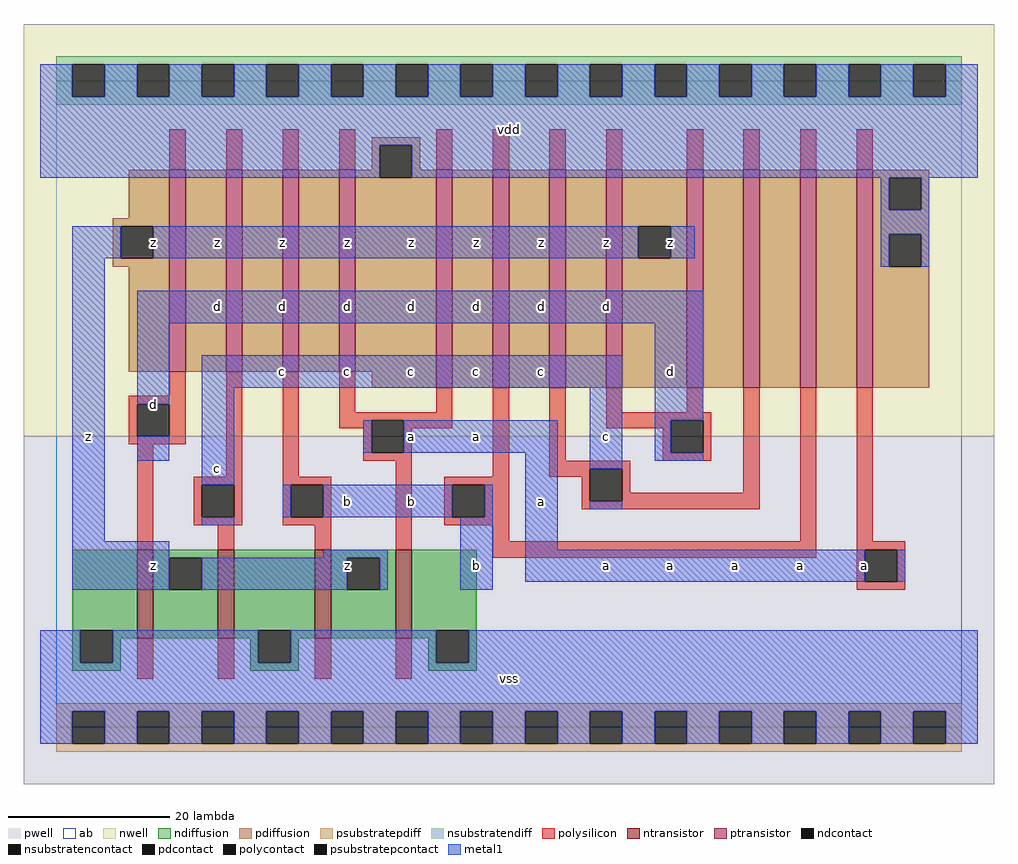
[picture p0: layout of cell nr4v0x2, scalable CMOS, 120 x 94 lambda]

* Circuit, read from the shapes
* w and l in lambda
.subckt nr4v0x2 a b c d vdd vss z
M1 z d vss vss nfet w=11 l=2
M2 vss c z vss nfet w=11 l=2
M3 z b vss vss nfet w=11 l=2
M4 vss a z vss nfet w=11 l=2
M5 n1 d z vdd pfet w=25 l=2
M6 n2 c n1 vdd pfet w=25 l=2
M7 n3 b n2 vdd pfet w=25 l=2
M8 vdd a n3 vdd pfet w=25 l=2
M9 n4 a vdd vdd pfet w=27 l=2
M10 n5 b n4 vdd pfet w=27 l=2
M11 n6 c n5 vdd pfet w=27 l=2
M12 z d n6 vdd pfet w=27 l=2
M13 n7 d z vdd pfet w=27 l=2
M14 n8 c n7 vdd pfet w=27 l=2
M15 n9 b n8 vdd pfet w=27 l=2
M16 vdd a n9 vdd pfet w=27 l=2
.ends

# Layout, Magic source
magic
tech scmos
<< ab >>
rect 0 0 112 80
<< pwell >>
rect -4 -7 116 36
<< nwell >>
rect -4 36 116 87
<< polysilicon >>
rect 14 69 16 74
rect 21 69 23 74
rect 28 69 30 74
rect 35 69 37 74
rect 47 69 49 74
rect 54 69 56 74
rect 61 69 63 74
rect 68 69 70 74
rect 78 69 80 74
rect 85 69 87 74
rect 92 69 94 74
rect 99 69 101 74
rect 14 41 16 44
rect 9 40 16 41
rect 9 36 10 40
rect 14 36 16 40
rect 9 35 16 36
rect 10 22 12 35
rect 21 31 23 44
rect 17 30 23 31
rect 17 26 18 30
rect 22 26 23 30
rect 17 25 23 26
rect 28 31 30 44
rect 35 39 37 44
rect 47 39 49 42
rect 35 38 49 39
rect 35 37 39 38
rect 38 34 39 37
rect 43 37 49 38
rect 43 34 44 37
rect 38 33 44 34
rect 28 30 34 31
rect 28 26 29 30
rect 33 26 34 30
rect 28 25 34 26
rect 20 22 22 25
rect 32 22 34 25
rect 42 22 44 33
rect 54 31 56 42
rect 61 33 63 42
rect 68 39 70 42
rect 78 39 80 42
rect 68 38 81 39
rect 68 37 76 38
rect 75 34 76 37
rect 80 34 81 38
rect 75 33 81 34
rect 61 32 71 33
rect 61 31 66 32
rect 48 30 56 31
rect 48 26 49 30
rect 53 26 56 30
rect 65 28 66 31
rect 70 29 71 32
rect 85 29 87 42
rect 70 28 87 29
rect 65 27 87 28
rect 48 25 56 26
rect 54 23 56 25
rect 92 23 94 42
rect 10 6 12 11
rect 20 6 22 11
rect 54 21 94 23
rect 99 23 101 42
rect 99 22 105 23
rect 99 18 100 22
rect 104 18 105 22
rect 99 17 105 18
rect 32 6 34 11
rect 42 6 44 11
<< ndiffusion >>
rect 2 12 10 22
rect 2 8 3 12
rect 7 11 10 12
rect 12 21 20 22
rect 12 17 14 21
rect 18 17 20 21
rect 12 11 20 17
rect 22 12 32 22
rect 22 11 25 12
rect 7 8 8 11
rect 2 7 8 8
rect 24 8 25 11
rect 29 11 32 12
rect 34 21 42 22
rect 34 17 36 21
rect 40 17 42 21
rect 34 11 42 17
rect 44 12 52 22
rect 44 11 47 12
rect 29 8 30 11
rect 24 7 30 8
rect 46 8 47 11
rect 51 8 52 12
rect 46 7 52 8
<< pdiffusion >>
rect 39 72 45 73
rect 39 69 40 72
rect 9 63 14 69
rect 7 62 14 63
rect 7 58 8 62
rect 12 58 14 62
rect 7 57 14 58
rect 9 44 14 57
rect 16 44 21 69
rect 23 44 28 69
rect 30 44 35 69
rect 37 68 40 69
rect 44 69 45 72
rect 44 68 47 69
rect 37 44 47 68
rect 39 42 47 44
rect 49 42 54 69
rect 56 42 61 69
rect 63 42 68 69
rect 70 62 78 69
rect 70 58 72 62
rect 76 58 78 62
rect 70 42 78 58
rect 80 42 85 69
rect 87 42 92 69
rect 94 42 99 69
rect 101 68 108 69
rect 101 64 103 68
rect 107 64 108 68
rect 101 61 108 64
rect 101 57 103 61
rect 107 57 108 61
rect 101 42 108 57
<< metal1 >>
rect -2 78 2 82
rect 6 78 10 82
rect 14 78 18 82
rect 22 78 26 82
rect 30 78 34 82
rect 38 78 42 82
rect 46 78 50 82
rect 54 78 58 82
rect 62 78 66 82
rect 70 78 74 82
rect 78 78 82 82
rect 86 78 90 82
rect 94 78 98 82
rect 102 78 106 82
rect 110 78 114 82
rect -2 72 114 78
rect -2 68 40 72
rect 44 68 114 72
rect 102 64 103 68
rect 107 64 108 68
rect 2 58 8 62
rect 12 58 72 62
rect 76 58 79 62
rect 102 61 108 64
rect 2 23 6 58
rect 102 57 103 61
rect 107 57 108 61
rect 10 50 80 54
rect 10 40 14 50
rect 10 33 14 36
rect 18 42 70 46
rect 18 30 22 42
rect 38 34 39 38
rect 43 34 62 38
rect 28 26 29 30
rect 33 26 49 30
rect 53 26 54 30
rect 18 25 22 26
rect 2 17 14 23
rect 33 21 41 22
rect 18 17 36 21
rect 40 17 41 21
rect 50 17 54 26
rect 58 22 62 34
rect 66 32 70 42
rect 74 38 80 50
rect 74 34 76 38
rect 74 33 80 34
rect 66 27 70 28
rect 58 18 100 22
rect 104 18 105 22
rect -2 8 3 12
rect 7 8 25 12
rect 29 8 47 12
rect 51 8 114 12
rect -2 2 114 8
rect -2 -2 2 2
rect 6 -2 10 2
rect 14 -2 18 2
rect 22 -2 26 2
rect 30 -2 34 2
rect 38 -2 42 2
rect 46 -2 50 2
rect 54 -2 58 2
rect 62 -2 66 2
rect 70 -2 74 2
rect 78 -2 82 2
rect 86 -2 90 2
rect 94 -2 98 2
rect 102 -2 106 2
rect 110 -2 114 2
<< ntransistor >>
rect 10 11 12 22
rect 20 11 22 22
rect 32 11 34 22
rect 42 11 44 22
<< ptransistor >>
rect 14 44 16 69
rect 21 44 23 69
rect 28 44 30 69
rect 35 44 37 69
rect 47 42 49 69
rect 54 42 56 69
rect 61 42 63 69
rect 68 42 70 69
rect 78 42 80 69
rect 85 42 87 69
rect 92 42 94 69
rect 99 42 101 69
<< polycontact >>
rect 10 36 14 40
rect 18 26 22 30
rect 39 34 43 38
rect 29 26 33 30
rect 76 34 80 38
rect 49 26 53 30
rect 66 28 70 32
rect 100 18 104 22
<< ndcontact >>
rect 3 8 7 12
rect 14 17 18 21
rect 25 8 29 12
rect 36 17 40 21
rect 47 8 51 12
<< pdcontact >>
rect 8 58 12 62
rect 40 68 44 72
rect 72 58 76 62
rect 103 64 107 68
rect 103 57 107 61
<< psubstratepcontact >>
rect 2 -2 6 2
rect 10 -2 14 2
rect 18 -2 22 2
rect 26 -2 30 2
rect 34 -2 38 2
rect 42 -2 46 2
rect 50 -2 54 2
rect 58 -2 62 2
rect 66 -2 70 2
rect 74 -2 78 2
rect 82 -2 86 2
rect 90 -2 94 2
rect 98 -2 102 2
rect 106 -2 110 2
<< nsubstratencontact >>
rect 2 78 6 82
rect 10 78 14 82
rect 18 78 22 82
rect 26 78 30 82
rect 34 78 38 82
rect 42 78 46 82
rect 50 78 54 82
rect 58 78 62 82
rect 66 78 70 82
rect 74 78 78 82
rect 82 78 86 82
rect 90 78 94 82
rect 98 78 102 82
rect 106 78 110 82
<< psubstratepdiff >>
rect 0 2 112 3
rect 0 -2 2 2
rect 6 -2 10 2
rect 14 -2 18 2
rect 22 -2 26 2
rect 30 -2 34 2
rect 38 -2 42 2
rect 46 -2 50 2
rect 54 -2 58 2
rect 62 -2 66 2
rect 70 -2 74 2
rect 78 -2 82 2
rect 86 -2 90 2
rect 94 -2 98 2
rect 102 -2 106 2
rect 110 -2 112 2
rect 0 -3 112 -2
<< nsubstratendiff >>
rect 0 82 112 83
rect 0 78 2 82
rect 6 78 10 82
rect 14 78 18 82
rect 22 78 26 82
rect 30 78 34 82
rect 38 78 42 82
rect 46 78 50 82
rect 54 78 58 82
rect 62 78 66 82
rect 70 78 74 82
rect 78 78 82 82
rect 86 78 90 82
rect 94 78 98 82
rect 102 78 106 82
rect 110 78 112 82
rect 0 77 112 78
<< labels >>
rlabel metal1 12 20 12 20 6 z
rlabel metal1 4 36 4 36 6 z
rlabel metal1 12 40 12 40 6 d
rlabel metal1 12 60 12 60 6 z
rlabel metal1 36 20 36 20 6 z
rlabel metal1 36 28 36 28 6 b
rlabel metal1 20 32 20 32 6 c
rlabel metal1 28 44 28 44 6 c
rlabel metal1 36 44 36 44 6 c
rlabel metal1 28 52 28 52 6 d
rlabel metal1 36 52 36 52 6 d
rlabel metal1 20 52 20 52 6 d
rlabel metal1 20 60 20 60 6 z
rlabel metal1 28 60 28 60 6 z
rlabel metal1 36 60 36 60 6 z
rlabel metal1 56 6 56 6 6 vss
rlabel metal1 44 28 44 28 6 b
rlabel metal1 52 20 52 20 6 b
rlabel metal1 60 28 60 28 6 a
rlabel metal1 44 36 44 36 6 a
rlabel metal1 44 44 44 44 6 c
rlabel metal1 52 36 52 36 6 a
rlabel metal1 52 44 52 44 6 c
rlabel metal1 60 44 60 44 6 c
rlabel metal1 52 52 52 52 6 d
rlabel metal1 60 52 60 52 6 d
rlabel metal1 44 52 44 52 6 d
rlabel metal1 44 60 44 60 6 z
rlabel metal1 52 60 52 60 6 z
rlabel metal1 60 60 60 60 6 z
rlabel metal1 56 74 56 74 6 vdd
rlabel metal1 68 20 68 20 6 a
rlabel metal1 76 20 76 20 6 a
rlabel metal1 84 20 84 20 6 a
rlabel metal1 68 36 68 36 6 c
rlabel metal1 76 44 76 44 6 d
rlabel metal1 68 52 68 52 6 d
rlabel metal1 68 60 68 60 6 z
rlabel metal1 76 60 76 60 6 z
rlabel metal1 92 20 92 20 6 a
rlabel metal1 100 20 100 20 6 a
<< end >>
